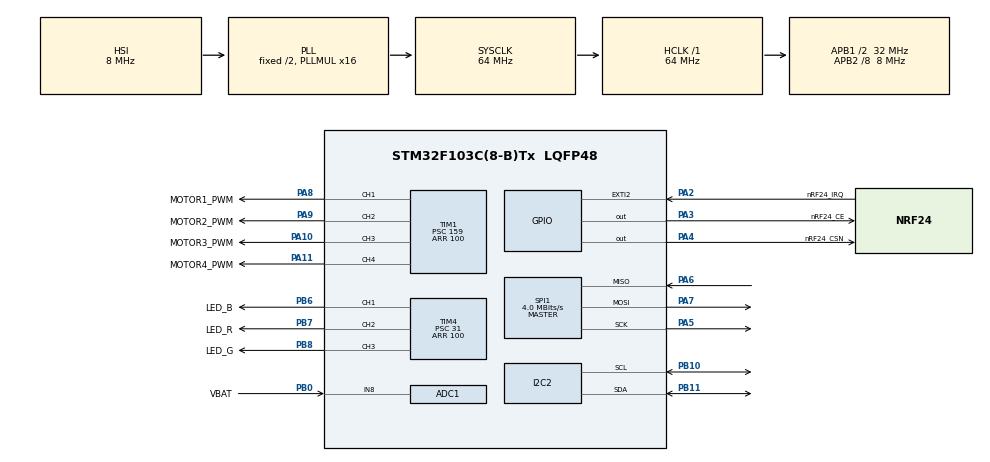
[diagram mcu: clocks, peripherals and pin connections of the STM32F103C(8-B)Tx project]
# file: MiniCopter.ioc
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ADC1.Channel-14\#ChannelRegularConversion=ADC_CHANNEL_8
ADC1.Channel-15\#ChannelRegularConversion=ADC_CHANNEL_VREFINT
ADC1.Channel-16\#ChannelRegularConversion=ADC_CHANNEL_TEMPSENSOR
ADC1.ContinuousConvMode=ENABLE
ADC1.DataAlign=ADC_DATAALIGN_RIGHT
ADC1.DiscontinuousConvMode=DISABLE
ADC1.EnableAnalogWatchDog=false
ADC1.EnableRegularConversion=ENABLE
ADC1.ExternalTrigConv=ADC_SOFTWARE_START
ADC1.InjNumberOfConversion=0
ADC1.NbrOfConversion=3
ADC1.NbrOfConversionFlag=1
ADC1.Rank-14\#ChannelRegularConversion=1
ADC1.Rank-15\#ChannelRegularConversion=2
ADC1.Rank-16\#ChannelRegularConversion=3
ADC1.SamplingTime-14\#ChannelRegularConversion=ADC_SAMPLETIME_55CYCLES_5
ADC1.SamplingTime-15\#ChannelRegularConversion=ADC_SAMPLETIME_1CYCLE_5
ADC1.SamplingTime-16\#ChannelRegularConversion=ADC_SAMPLETIME_1CYCLE_5
ADC1.ScanConvMode=ADC_SCAN_ENABLE
ADC1.master=1
Dma.ADC1.0.Direction=DMA_PERIPH_TO_MEMORY
Dma.ADC1.0.Instance=DMA1_Channel1
Dma.ADC1.0.MemDataAlignment=DMA_MDATAALIGN_HALFWORD
Dma.ADC1.0.MemInc=DMA_MINC_ENABLE
Dma.ADC1.0.Mode=DMA_CIRCULAR
Dma.ADC1.0.PeriphDataAlignment=DMA_PDATAALIGN_HALFWORD
Dma.ADC1.0.PeriphInc=DMA_PINC_DISABLE
Dma.ADC1.0.Priority=DMA_PRIORITY_MEDIUM
Dma.Request0=ADC1
Mcu.Family=STM32F1
Mcu.Name=STM32F103C(8-B)Tx
Mcu.Package=LQFP48
NVIC.ADC1_2_IRQn=true\:0\:0\:false\:false\:true\:true
NVIC.DMA1_Channel1_IRQn=true\:0\:0\:false\:false\:true\:false
NVIC.EXTI2_IRQn=true\:0\:0\:false\:false\:true\:true
NVIC.PriorityGroup=NVIC_PRIORITYGROUP_4
NVIC.TIM2_IRQn=true\:0\:0\:false\:false\:true\:true
PA10.GPIO_Label=MOTOR3_PWM
PA10.Signal=S_TIM1_CH3
PA11.GPIO_Label=MOTOR4_PWM
PA11.Signal=S_TIM1_CH4
PA13.Mode=Serial_Wire
PA13.Signal=SYS_JTMS-SWDIO
PA14.Mode=Serial_Wire
PA14.Signal=SYS_JTCK-SWCLK
PA2.GPIO_Label=nRF24_IRQ
PA2.GPIO_ModeDefaultEXTI=GPIO_MODE_IT_FALLING
PA2.Signal=GPXTI2
PA3.GPIO_Label=nRF24_CE
PA3.Signal=GPIO_Output
PA4.GPIO_Label=nRF24_CSN
PA4.Signal=GPIO_Output
PA5.Mode=Full_Duplex_Master
PA5.Signal=SPI1_SCK
PA6.Mode=Full_Duplex_Master
PA6.Signal=SPI1_MISO
PA7.Mode=Full_Duplex_Master
PA7.Signal=SPI1_MOSI
PA8.GPIO_Label=MOTOR1_PWM
PA8.Signal=S_TIM1_CH1
PA9.GPIO_Label=MOTOR2_PWM
PA9.Signal=S_TIM1_CH2
PB0.GPIO_Label=VBAT
PB0.Signal=ADCx_IN8
PB10.Mode=I2C
PB10.Signal=I2C2_SCL
PB11.Mode=I2C
PB11.Signal=I2C2_SDA
PB6.GPIO_Label=LED_B
PB6.Signal=S_TIM4_CH1
PB7.GPIO_Label=LED_R
PB7.Signal=S_TIM4_CH2
PB8.GPIO_Label=LED_G
PB8.Signal=S_TIM4_CH3
ProjectManager.HeapSize=0x200
ProjectManager.StackSize=0x400
ProjectManager.TargetToolchain=TrueSTUDIO
RCC.ADCPresc=RCC_ADCPCLK2_DIV8
RCC.AHBFreq_Value=64000000
RCC.APB1CLKDivider=RCC_HCLK_DIV2
RCC.APB1Freq_Value=32000000
RCC.APB1TimFreq_Value=64000000
RCC.APB2CLKDivider=RCC_HCLK_DIV8
RCC.APB2Freq_Value=8000000
RCC.APB2TimFreq_Value=16000000
RCC.HCLKFreq_Value=64000000
RCC.PLLMUL=RCC_PLL_MUL16
RCC.SYSCLKFreq_VALUE=64000000
RCC.SYSCLKSource=RCC_SYSCLKSOURCE_PLLCLK
RCC.USBFreq_Value=64000000
SH.ADCx_IN8.0=ADC1_IN8,IN8
SH.S_TIM1_CH1.0=TIM1_CH1,PWM Generation1 CH1
SH.S_TIM1_CH2.0=TIM1_CH2,PWM Generation2 CH2
SH.S_TIM1_CH3.0=TIM1_CH3,PWM Generation3 CH3
SH.S_TIM1_CH4.0=TIM1_CH4,PWM Generation4 CH4
SH.S_TIM4_CH1.0=TIM4_CH1,PWM Generation1 CH1
SH.S_TIM4_CH2.0=TIM4_CH2,PWM Generation2 CH2
SH.S_TIM4_CH3.0=TIM4_CH3,PWM Generation3 CH3
SPI1.CalculateBaudRate=4.0 MBits/s
SPI1.Direction=SPI_DIRECTION_2LINES
SPI1.Mode=SPI_MODE_MASTER
SPI1.VirtualType=VM_MASTER
TIM1.Channel-PWM\ Generation1\ CH1=TIM_CHANNEL_1
TIM1.Channel-PWM\ Generation2\ CH2=TIM_CHANNEL_2
TIM1.Channel-PWM\ Generation3\ CH3=TIM_CHANNEL_3
TIM1.Channel-PWM\ Generation4\ CH4=TIM_CHANNEL_4
TIM1.OCFastMode_PWM-PWM\ Generation2\ CH2=TIM_OCFAST_DISABLE
TIM1.OCMode_PWM-PWM\ Generation2\ CH2=TIM_OCMODE_PWM1
TIM1.Period=100
TIM1.Prescaler=159
TIM2.Channel-Output\ Compare1\ No\ Output=TIM_CHANNEL_1
TIM2.Channel-Output\ Compare2\ No\ Output=TIM_CHANNEL_2
TIM2.Channel-Output\ Compare3\ No\ Output=TIM_CHANNEL_3
TIM2.Channel-Output\ Compare4\ No\ Output=TIM_CHANNEL_4
TIM2.Period=1000
TIM2.Prescaler=63
TIM4.Channel-PWM\ Generation1\ CH1=TIM_CHANNEL_1
TIM4.Channel-PWM\ Generation2\ CH2=TIM_CHANNEL_2
TIM4.Channel-PWM\ Generation3\ CH3=TIM_CHANNEL_3
TIM4.Period=100
TIM4.Prescaler=31
VP_ADC1_TempSens_Input.Mode=IN-TempSens
VP_ADC1_Vref_Input.Mode=IN-Vrefint
VP_TIM2_VS_no_output1.Mode=Output Compare1 No Output
VP_TIM2_VS_no_output2.Mode=Output Compare2 No Output
VP_TIM2_VS_no_output3.Mode=Output Compare3 No Output
VP_TIM2_VS_no_output4.Mode=Output Compare4 No Output
board=custom

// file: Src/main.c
/**
  ******************************************************************************
  * @file           : main.c
  * @brief          : Main program body
  ******************************************************************************
  ** This notice applies to any and all portions of this file
  * that are not between comment pairs USER CODE BEGIN and
  * USER CODE END. Other portions of this file, whether
  * inserted by the user or by software development tools
  * are owned by their respective copyright owners.
  *
  * COPYRIGHT(c) 2020 STMicroelectronics
  *
  * Redistribution and use in source and binary forms, with or without modification,
  * are permitted provided that the following conditions are met:
  *   1. Redistributions of source code must retain the above copyright notice,
  *      this list of conditions and the following disclaimer.
  *   2. Redistributions in binary form must reproduce the above copyright notice,
  *      this list of conditions and the following disclaimer in the documentation
  *      and/or other materials provided with the distribution.
  *   3. Neither the name of STMicroelectronics nor the names of its contributors
  *      may be used to endorse or promote products derived from this software
  *      without specific prior written permission.
  *
  * THIS SOFTWARE IS PROVIDED BY THE COPYRIGHT HOLDERS AND CONTRIBUTORS "AS IS"
  * AND ANY EXPRESS OR IMPLIED WARRANTIES, INCLUDING, BUT NOT LIMITED TO, THE
  * IMPLIED WARRANTIES OF MERCHANTABILITY AND FITNESS FOR A PARTICULAR PURPOSE ARE
  * DISCLAIMED. IN NO EVENT SHALL THE COPYRIGHT HOLDER OR CONTRIBUTORS BE LIABLE
  * FOR ANY DIRECT, INDIRECT, INCIDENTAL, SPECIAL, EXEMPLARY, OR CONSEQUENTIAL
  * DAMAGES (INCLUDING, BUT NOT LIMITED TO, PROCUREMENT OF SUBSTITUTE GOODS OR
  * SERVICES; LOSS OF USE, DATA, OR PROFITS; OR BUSINESS INTERRUPTION) HOWEVER
  * CAUSED AND ON ANY THEORY OF LIABILITY, WHETHER IN CONTRACT, STRICT LIABILITY,
  * OR TORT (INCLUDING NEGLIGENCE OR OTHERWISE) ARISING IN ANY WAY OUT OF THE USE
  * OF THIS SOFTWARE, EVEN IF ADVISED OF THE POSSIBILITY OF SUCH DAMAGE.
  *
  ******************************************************************************
  */
#include "main.h"
#include "stm32f1xx_hal.h"
#include "adc.h"
#include "dma.h"
#include "i2c.h"
#include "spi.h"
#include "tim.h"
#include "gpio.h"

/* USER CODE BEGIN Includes */

#include "MPU9250.h"
#include "BMP280.h"
#include "nRF24L01.h"
#include "battery.h"
#include "radio_handler.h"
#include "motor.h"
#include "copter.h"
#include "math.h"
#include <stdlib.h>
#include "accel_calibration.h"
#include "mag_calibration.h"

/* USER CODE END Includes */

/* USER CODE BEGIN PV */
/* Private variables ---------------------------------------------------------*/

extern battery_t battery;

//extern bt_message_t message;

extern copter_t copter;

/* USER CODE END PV */

void SystemClock_Config(void);

/* USER CODE BEGIN PFP */
/* Private function prototypes -----------------------------------------------*/

/* USER CODE END PFP */

/* USER CODE BEGIN 0 */

void i2c_scan(I2C_HandleTypeDef *hi2c, uint8_t* addr)
{
	uint8_t ptr = 0;
	for (uint8_t i = 1; i < 255; i++)
	{
		uint8_t data = 0;
		if (HAL_I2C_Master_Transmit(hi2c, (uint16_t)i, (uint8_t *)&data, 1, 1000) == HAL_OK)
		{
			addr[ptr++] = i;
		}
	}
}
/* USER CODE END 0 */

int main(void)
{

	/* MCU Configuration----------------------------------------------------------*/

	/* Reset of all peripherals, Initializes the Flash interface and the Systick. */
	HAL_Init();

	/* Configure the system clock */
	SystemClock_Config();

	/* Initialize all configured peripherals */
	MX_GPIO_Init();
	MX_DMA_Init();
	MX_ADC1_Init();
	MX_TIM1_Init();
	MX_TIM2_Init();
	MX_I2C2_Init();
	MX_SPI1_Init();
	MX_TIM4_Init();
	/* USER CODE BEGIN 2 */

	// Sensors init
	//     MPU9250
	HAL_Delay(50);

	HAL_GPIO_WritePin(LED_R_GPIO_Port, LED_R_Pin, GPIO_PIN_RESET);
	HAL_GPIO_WritePin(LED_G_GPIO_Port, LED_G_Pin, GPIO_PIN_RESET);
	HAL_GPIO_WritePin(LED_B_GPIO_Port, LED_B_Pin, GPIO_PIN_RESET);

	HAL_TIM_PWM_Start(&htim4, TIM_CHANNEL_1);
	HAL_TIM_PWM_Start(&htim4, TIM_CHANNEL_2);
	HAL_TIM_PWM_Start(&htim4, TIM_CHANNEL_3);
	htim4.Instance->CCR1 = 10;
	htim4.Instance->CCR2 = 10;
	htim4.Instance->CCR3 = 10;

	uint8_t addr[10] = { 0 };
	i2c_scan(&hi2c2, addr);

	MPU9250_init_t mpu9250_init_s =
	{
		.hi2c = &hi2c2,
		.accel_scale = AFS_2G,
		.gyro_scale = GFS_250DPS,
		.mag_scale = MFS_16BITS,
		.mag_freq = MAG_FREQ_100HZ,
		.accel_bandwidth = ACCEL_BANDWIDTH_DEFAULT,
		.accel_freq = ACCEL_FREQ_DEFAULT,
		.gyro_bandwidth = GYRO_BANDWIDTH_DEFAULT,
		.gyro_freq = GYRO_FREQ_DEFAULT
	};
	HAL_StatusTypeDef ok = MPU9250_init(&mpu9250_init_s);
	//accelerometer_calibration();
	//mag_calibration();

	//save_calibration_to_flash();
	//load_calibration_from_flash();

	//     BMP280
	BMP280_init_t bmp280_init =
	{
		.hi2c = &hi2c2,
		.mode = BMP280_NORMAL_MODE,
		.filter_coeff = BMP280_FILTER_COEF_16,
		.ost = BMP280_TEMP_LOW_POWER,
		.osp = BMP280_PRESS_ULTRA_HIGH_RES,
		.stby_time = BMP280_STANDBY_05_MS
	};

	ok = BMP280_init(&bmp280_init);

	// BT connectivity init

	// Motor Init
	HAL_TIM_PWM_Start(&htim1, TIM_CHANNEL_1);
	HAL_TIM_PWM_Start(&htim1, TIM_CHANNEL_2);
	HAL_TIM_PWM_Start(&htim1, TIM_CHANNEL_3);
	HAL_TIM_PWM_Start(&htim1, TIM_CHANNEL_4);
	copter_init(&htim1, TIM_CHANNEL_1, TIM_CHANNEL_4, TIM_CHANNEL_3, TIM_CHANNEL_2);

	// Battery Level Measurement init
	HAL_ADC_Start_DMA(&hadc1, (uint32_t*) &battery.buf, ADC_BUFFER_SIZE);

	// Sheduler timer init
	HAL_TIM_OC_Start_IT(&htim2, TIM_CHANNEL_1);

	// nRF24 radio init & config
	nRF24_Init();
	uint8_t nrf_pres = nRF24_Check();
	uint8_t ADDR[] = { 'n', 'R', 'F', '2', '4' };

	nRF24_EnableAutoAck();
	nRF24_SetRFChannel(120);
	nRF24_SetDataRate(nRF24_DR_2Mbps);
	nRF24_SetCRCScheme(nRF24_CRC_off);
	nRF24_SetAddrWidth(5);

	nRF24_SetAddr(nRF24_PIPE1, ADDR);
	nRF24_SetRXPipe(nRF24_PIPE1, nRF24_AA_ON, 32);

	nRF24_SetTXPower(nRF24_TXPWR_0dBm);
	nRF24_SetOperationalMode(nRF24_MODE_RX);
	nRF24_SetPowerMode(nRF24_PWR_UP);

	uint8_t ack_payload[32] = {0};
	nRF24_WriteAckPayload(nRF24_PIPE1, ack_payload, 32);
	nRF24_CE_H;  // start receiving

	htim4.Instance->CCR2 = 0;
	htim4.Instance->CCR3 = 0;
	htim4.Instance->CCR1 = 11;

  /* USER CODE END 2 */

  /* Infinite loop */
  while (1)
  {

  }

}

void SystemClock_Config(void)
{

  RCC_OscInitTypeDef RCC_OscInitStruct;
  RCC_ClkInitTypeDef RCC_ClkInitStruct;
  RCC_PeriphCLKInitTypeDef PeriphClkInit;

    /**Initializes the CPU, AHB and APB busses clocks
    */
  RCC_OscInitStruct.OscillatorType = RCC_OSCILLATORTYPE_HSI;
  RCC_OscInitStruct.HSIState = RCC_HSI_ON;
  RCC_OscInitStruct.HSICalibrationValue = 16;
  RCC_OscInitStruct.PLL.PLLState = RCC_PLL_ON;
  RCC_OscInitStruct.PLL.PLLSource = RCC_PLLSOURCE_HSI_DIV2;
  RCC_OscInitStruct.PLL.PLLMUL = RCC_PLL_MUL16;
  if (HAL_RCC_OscConfig(&RCC_OscInitStruct) != HAL_OK)
  {
    _Error_Handler(__FILE__, __LINE__);
  }

    /**Initializes the CPU, AHB and APB busses clocks
    */
  RCC_ClkInitStruct.ClockType = RCC_CLOCKTYPE_HCLK|RCC_CLOCKTYPE_SYSCLK
                              |RCC_CLOCKTYPE_PCLK1|RCC_CLOCKTYPE_PCLK2;
  RCC_ClkInitStruct.SYSCLKSource = RCC_SYSCLKSOURCE_PLLCLK;
  RCC_ClkInitStruct.AHBCLKDivider = RCC_SYSCLK_DIV1;
  RCC_ClkInitStruct.APB1CLKDivider = RCC_HCLK_DIV2;
  RCC_ClkInitStruct.APB2CLKDivider = RCC_HCLK_DIV8;

  if (HAL_RCC_ClockConfig(&RCC_ClkInitStruct, FLASH_LATENCY_2) != HAL_OK)
  {
    _Error_Handler(__FILE__, __LINE__);
  }

  PeriphClkInit.PeriphClockSelection = RCC_PERIPHCLK_ADC;
  PeriphClkInit.AdcClockSelection = RCC_ADCPCLK2_DIV8;
  if (HAL_RCCEx_PeriphCLKConfig(&PeriphClkInit) != HAL_OK)
  {
    _Error_Handler(__FILE__, __LINE__);
  }

    /**Configure the Systick interrupt time
    */
  HAL_SYSTICK_Config(HAL_RCC_GetHCLKFreq()/1000);

    /**Configure the Systick
    */
  HAL_SYSTICK_CLKSourceConfig(SYSTICK_CLKSOURCE_HCLK);

  /* SysTick_IRQn interrupt configuration */
  HAL_NVIC_SetPriority(SysTick_IRQn, 0, 0);
}

void _Error_Handler(char *file, int line)
{
  while(1)
  {
  }
}

/************************ (C) COPYRIGHT STMicroelectronics *****END OF FILE****/
